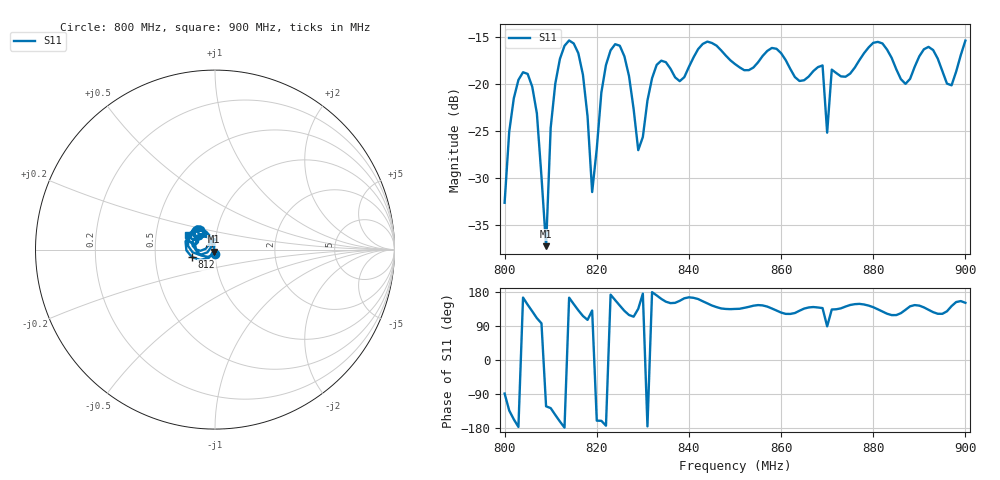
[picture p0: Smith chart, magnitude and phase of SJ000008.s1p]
!File created by NanoVNA-F V2
# Hz S RI R 50
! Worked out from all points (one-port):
!   101 points, 800 MHz to 900 MHz, reference 50 ohm
!   lowest |S11| = -37.3 dB at 809 MHz (marker M1), VSWR 1.03, Z = 49.3 - j1.14 ohm
!   |S11| at or under -10 dB: start of sweep to end of sweep
!   S11 on the Smith chart (normalised r, x): 800 MHz: 1.00, -0.05; 812 MHz: 0.77, -0.06; 900 MHz: 0.73, +0.12
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8e8  0.000599 -0.0233
8.02e8  -0.077 -0.0332
8.05e8  -0.0936 0.0633
8.07e8  -0.0244 0.0653
8.09e8  -0.0073 -0.0116
8.1e8  -0.0351 -0.0466
8.12e8  -0.1293 -0.0412
8.13e8  -0.1594 -0.00428
8.17e8  -0.0493 0.1003
8.19e8  -0.0173 0.0202
8.22e8  -0.1253 -0.0146
8.25e8  -0.1285 0.0946
8.29e8  -0.0314 0.0314
8.33e8  -0.1244 0.021
8.38e8  -0.0946 0.0417
8.44e8  -0.1445 0.0854
8.5e8  -0.0897 0.0905
8.59e8  -0.1 0.1167
8.63e8  -0.0608 0.0901
8.69e8  -0.0917 0.0855
8.7e8  0.00122 0.055
8.71e8  -0.0816 0.0867
8.75e8  -0.0931 0.0648
8.81e8  -0.1156 0.1209
8.88e8  -0.0835 0.0659
8.92e8  -0.1063 0.116
8.97e8  -0.0777 0.0601
9e8  -0.1485 0.0825
